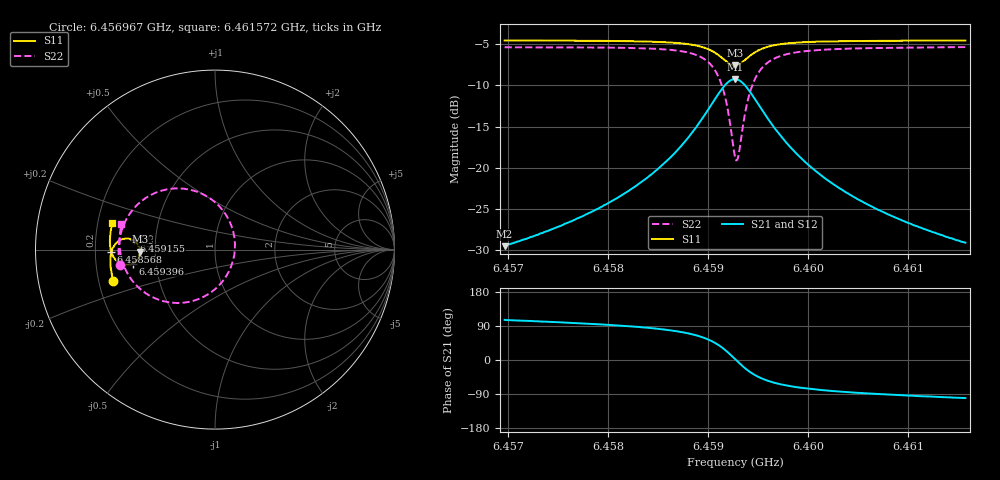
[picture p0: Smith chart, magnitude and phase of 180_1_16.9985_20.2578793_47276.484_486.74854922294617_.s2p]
#  HZ  S  RI  R  50.00
! Rohde & Schwarz Vector Network Analyzer
! Rohde-Schwarz,ZNB20-2Port,1311601062101988,3.16
! Created: UTC 3/20/2024, 11:00:06 PM
! freq[Hz]  re:S11  im:S11  re:S21  im:S21  re:S12  im:S12  re:S22  im:S22
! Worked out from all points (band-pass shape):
!   401 points, 6.456967 GHz to 6.461572 GHz, reference 50 ohm
!   highest |S21| = -9.24 dB at 6.45927 GHz (marker M1); lowest = -29.5 dB at 6.456967 GHz (marker M2)
!   |S21| within 3 dB of the highest: 6.459039 GHz to 6.4595 GHz (460.7 kHz wide, 0.00713 % of centre)
!   lowest |S11| = -7.6 dB at 6.45927 GHz (marker M3), VSWR 2.44, Z = 20.5 - j0.6 ohm
!   |S11| at or under -10 dB: nowhere
!   |S22| runs from -19.1 to -5.4 dB; largest |S21 - S12| = 0.013
!   S11 on the Smith chart (normalised r, x): 6.456967 GHz: 0.26, -0.14; 6.458568 GHz: 0.27, -0.01; 6.459155 GHz: 0.37, +0.05; 6.459396 GHz: 0.37, -0.07; 6.461572 GHz: 0.26, +0.12
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6.4569673e9  -0.566 -0.1742  -0.00916 0.0322  -0.00741 0.0323  -0.5313 -0.0877
6.4577387e9  -0.5803 -0.1068  -0.00576 0.0503  -0.0033 0.0498  -0.5372 0.00252
6.4581647e9  -0.5832 -0.0642  7.55e-05 0.0698  0.00329 0.0685  -0.5296 0.0699
6.45851e9  -0.5796 -0.0228  0.0138 0.0987  0.0178 0.096  -0.5044 0.1477
6.4585676e9  -0.5778 -0.0149  0.0181 0.1057  0.0221 0.1026  -0.4964 0.1643
6.4587748e9  -0.5649 0.0173  0.0455 0.1381  0.0496 0.1333  -0.4453 0.2371
6.4589245e9  -0.5423 0.0436  0.0907 0.1689  0.094 0.1622  -0.3619 0.3019
6.4590626e9  -0.4984 0.0613  0.1777 0.1857  0.1788 0.1784  -0.2031 0.3411
6.4591547e9  -0.4538 0.0511  0.2679 0.1547  0.2682 0.1488  -0.0365 0.2912
6.4592238e9  -0.4246 0.0191  0.3284 0.0828  0.3306 0.0775  0.0789 0.1619
6.4592699e9  -0.4177 -0.0121  0.3449 0.0149  0.3486 0.00812  0.1112 0.0355
6.4592814e9  -0.4181 -0.0201  0.3446 -0.00282  0.3485 -0.0104  0.1108 0.00193
6.4593044e9  -0.4216 -0.0357  0.3391 -0.0375  0.343 -0.0464  0.0998 -0.0636
6.4593504e9  -0.4372 -0.0618  0.3107 -0.0972  0.313 -0.1091  0.0423 -0.1765
6.4593965e9  -0.4592 -0.078  0.2688 -0.1382  0.268 -0.1514  -0.0421 -0.2511
6.4594886e9  -0.5026 -0.0849  0.1843 -0.1694  0.1783 -0.181  -0.2102 -0.2975
6.4596383e9  -0.5464 -0.0646  0.0966 -0.1561  0.0883 -0.1622  -0.3773 -0.2487
6.4597994e9  -0.5682 -0.0369  0.0518 -0.1285  0.0442 -0.131  -0.4576 -0.1772
6.4600412e9  -0.581 -0.00148  0.0227 -0.0969  0.0168 -0.0975  -0.5057 -0.0952
6.4603751e9  -0.5856 0.0383  0.00679 -0.0709  0.00277 -0.0706  -0.5271 -0.0185
6.4608125e9  -0.5838 0.0823  -0.00135 -0.0517  -0.00407 -0.051  -0.5321 0.0518
6.4615724e9  -0.5718 0.1497  -0.00634 -0.0346  -0.00807 -0.0336  -0.5211 0.1415
